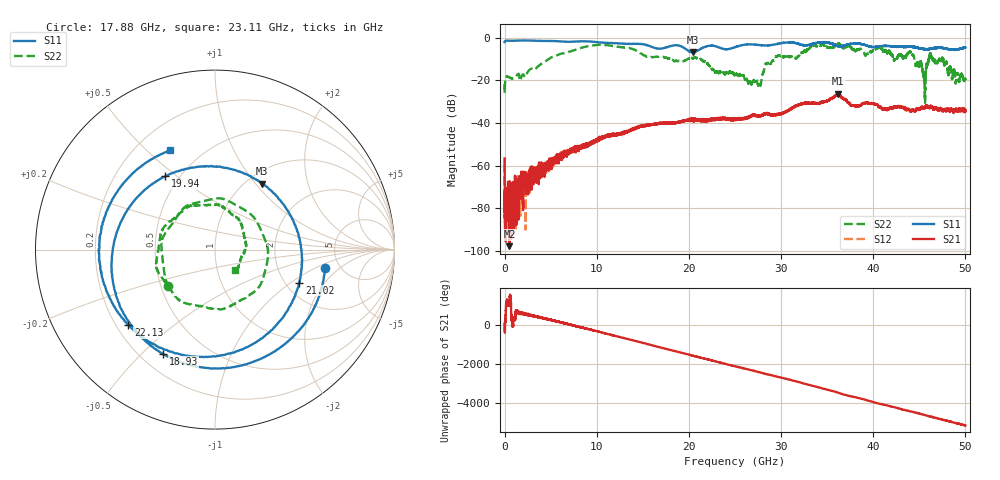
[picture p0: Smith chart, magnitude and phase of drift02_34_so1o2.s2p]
!Created with skrf (http://scikit-rf.org).
# Hz S RI R 50.0
!freq ReS11 ImS11 ReS21 ImS21 ReS12 ImS12 ReS22 ImS22
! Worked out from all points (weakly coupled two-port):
!   10001 points, 300 kHz to 50 GHz, reference 50 ohm
!   highest |S21| = -26.32 dB at 36.14 GHz (marker M1); lowest = -97.7 dB at 530.3 MHz (marker M2)
!   lowest |S11| = -6.9 dB at 20.44 GHz (marker M3), VSWR 2.64, Z = 58.6 + j54 ohm
!   |S11| at or under -10 dB: nowhere
!   |S22| runs from -31.1 to -2.6 dB; largest |S21 - S12| = 0.005
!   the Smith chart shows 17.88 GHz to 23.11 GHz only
!   S11 on the Smith chart (normalised r, x): 17.88 GHz: 3.84, -1.26; 18.93 GHz: 0.29, -0.58; 19.94 GHz: 0.42, +0.46; 21.02 GHz: 2.37, -1.16; 22.13 GHz: 0.25, -0.35; 23.11 GHz: 0.34, +0.59
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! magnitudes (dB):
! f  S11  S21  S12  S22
! 300 kHz  -2.1  -56.6  -59.1  -21.8
! 255.3 MHz  -1.4  -81.4  -80.4  -18.2
! 530.3 MHz  -1.5  -97.7  -82.2  -18.7
! 8.335 GHz  -1.7  -50.5  -51.2  -4.7
! 16.67 GHz  -5.2  -40.4  -40.2  -9.0
! 17.88 GHz  -4.1  -39.9  -39.9  -9.6
! 18.93 GHz  -3.7  -39.7  -39.8  -10.9
! 19.94 GHz  -6.1  -38.7  -38.4  -9.8
! 20.44 GHz  -6.9  -38.7  -38.6  -9.7
! 21.02 GHz  -6.0  -38.1  -38.6  -9.4
! 22.13 GHz  -3.9  -38.3  -38.7  -12.8
! 23.11 GHz  -4.3  -38.2  -38.0  -16.1
! 25 GHz  -4.5  -38.5  -38.5  -17.6
! 27.62 GHz  -3.5  -36.6  -36.6  -21.5
! 29.54 GHz  -3.0  -35.8  -36.3  -8.8
! 33.34 GHz  -3.0  -30.5  -30.5  -3.8
! 36.14 GHz  -3.9  -26.3  -26.9  -3.0
! 41.67 GHz  -3.9  -33.6  -33.3  -6.2
! 44.12 GHz  -4.1  -34.5  -34.4  -7.1
! 45.5 GHz  -5.3  -32.9  -33.2  -17.8
! 46.29 GHz  -5.2  -32.5  -32.6  -9.6
! 50 GHz  -4.7  -34.3  -34.5  -19.3
